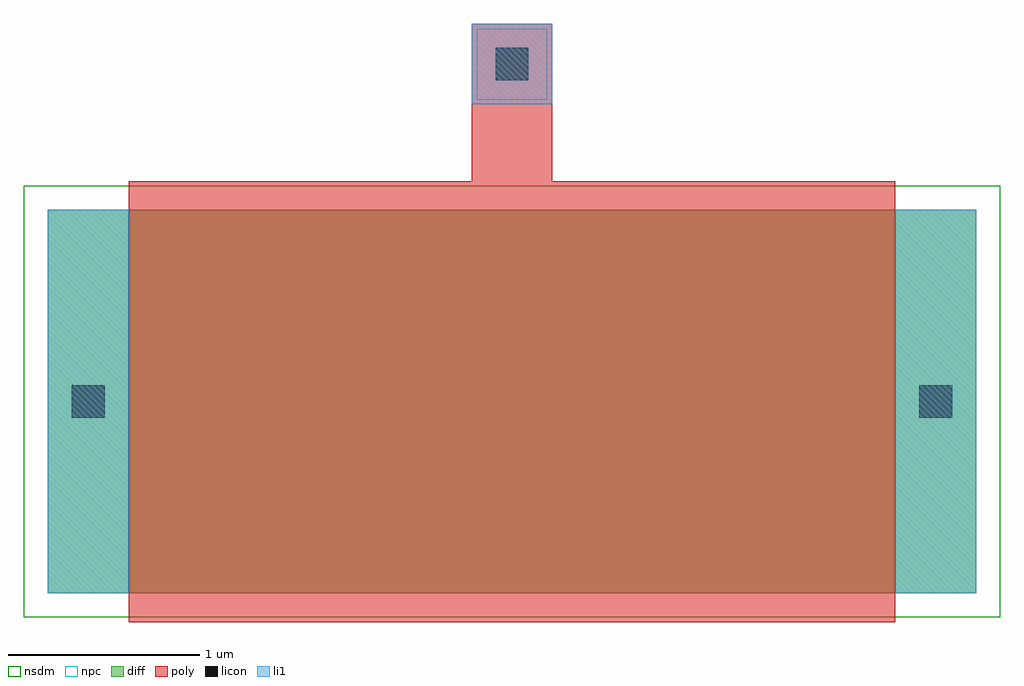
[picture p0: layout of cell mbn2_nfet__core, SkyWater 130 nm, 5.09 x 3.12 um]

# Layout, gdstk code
import gdstk
lib = gdstk.Library(unit=1e-6, precision=1e-09)
def R(c, l, rs):  # rectangles x0, y0, x1, y1
    for r in rs: c.add(gdstk.rectangle(r[:2], r[2:], *l))
diff = (65, 20)
poly = (66, 20)
licon = (66, 44)
li1 = (67, 20)
nsdm = (93, 44)
npc = (95, 20)

mbn2_nfet__core = lib.new_cell('mbn2_nfet__core')
R(mbn2_nfet__core, diff, [(0,0,4.84,2)])
R(mbn2_nfet__core, poly, [(0.42,-0.15,4.42,2), (0.42,2,4.42,2.15), (0.42,2,4.42,2.15), (2.21,2.15,2.63,2.97)])
R(mbn2_nfet__core, licon, [(0.125,0.915,0.295,1.085), (4.545,0.915,4.715,1.085), (2.335,2.675,2.505,2.845)])
R(mbn2_nfet__core, li1, [(0,0,0.42,2), (4.42,0,4.84,2), (2.21,2.55,2.63,2.97)])
R(mbn2_nfet__core, nsdm, [(-0.125,-0.125,4.965,2.125)])
R(mbn2_nfet__core, npc, [(2.235,2.575,2.605,2.945)])

lib.write_gds('mbn2_nfet__core.gds')
